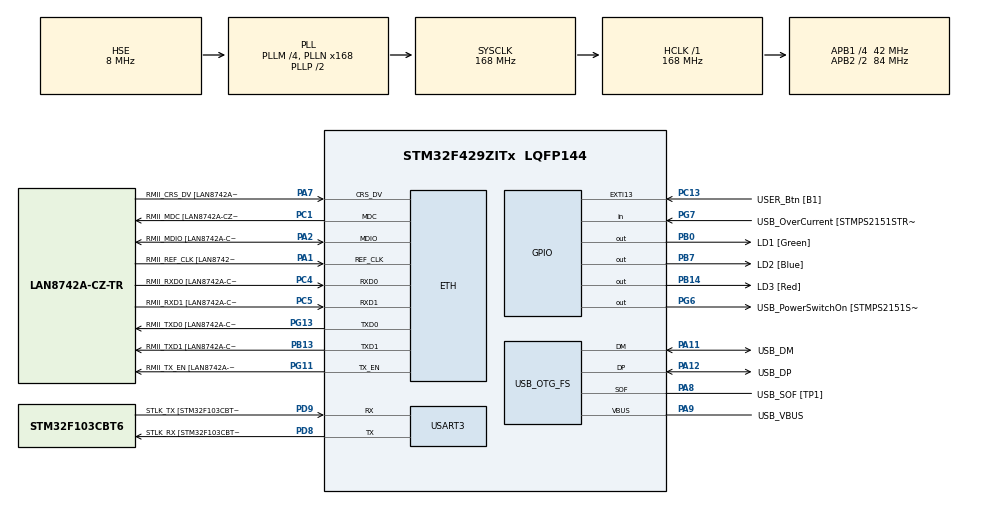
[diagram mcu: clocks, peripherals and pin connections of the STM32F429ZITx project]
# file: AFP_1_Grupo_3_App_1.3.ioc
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ETH.MediaInterface=HAL_ETH_RMII_MODE
ETH.PHY_Name=LAN8742A_PHY_ADDRESS
ETH.PHY_Value=0
ETH.PhyAddress=0
Mcu.Family=STM32F4
Mcu.Name=STM32F429ZITx
Mcu.Package=LQFP144
NVIC.PriorityGroup=NVIC_PRIORITYGROUP_4
PA1.GPIO_Label=RMII_REF_CLK [LAN8742A-CZ-TR_REFCLK0]
PA1.Mode=RMII
PA1.Signal=ETH_REF_CLK
PA10.GPIO_Label=USB_ID
PA10.Signal=USB_OTG_FS_ID
PA11.GPIO_Label=USB_DM
PA11.Mode=Device_Only
PA11.Signal=USB_OTG_FS_DM
PA12.GPIO_Label=USB_DP
PA12.Mode=Device_Only
PA12.Signal=USB_OTG_FS_DP
PA13.GPIO_Label=TMS
PA13.Mode=Serial_Wire
PA13.Signal=SYS_JTMS-SWDIO
PA14.GPIO_Label=TCK
PA14.Mode=Serial_Wire
PA14.Signal=SYS_JTCK-SWCLK
PA2.GPIO_Label=RMII_MDIO [LAN8742A-CZ-TR_MDIO]
PA2.Mode=RMII
PA2.Signal=ETH_MDIO
PA7.GPIO_Label=RMII_CRS_DV [LAN8742A-CZ-TR_CRS_DV]
PA7.Mode=RMII
PA7.Signal=ETH_CRS_DV
PA8.GPIO_Label=USB_SOF [TP1]
PA8.Mode=Activate_SOF_FS
PA8.Signal=USB_OTG_FS_SOF
PA9.GPIO_Label=USB_VBUS
PA9.Mode=Activate_VBUS
PA9.Signal=USB_OTG_FS_VBUS
PB0.GPIO_Label=LD1 [Green]
PB0.Signal=GPIO_Output
PB13.GPIO_Label=RMII_TXD1 [LAN8742A-CZ-TR_TXD1]
PB13.Mode=RMII
PB13.Signal=ETH_TXD1
PB14.GPIO_Label=LD3 [Red]
PB14.Signal=GPIO_Output
PB7.GPIO_Label=LD2 [Blue]
PB7.Signal=GPIO_Output
PC1.GPIO_Label=RMII_MDC [LAN8742A-CZ-TR_MDC]
PC1.Mode=RMII
PC1.Signal=ETH_MDC
PC13.GPIO_Label=USER_Btn [B1]
PC13.Signal=GPXTI13
PC14/OSC32_IN.Mode=LSE-External-Oscillator
PC14/OSC32_IN.Signal=RCC_OSC32_IN
PC15/OSC32_OUT.Mode=LSE-External-Oscillator
PC15/OSC32_OUT.Signal=RCC_OSC32_OUT
PC4.GPIO_Label=RMII_RXD0 [LAN8742A-CZ-TR_RXD0]
PC4.Mode=RMII
PC4.Signal=ETH_RXD0
PC5.GPIO_Label=RMII_RXD1 [LAN8742A-CZ-TR_RXD1]
PC5.Mode=RMII
PC5.Signal=ETH_RXD1
PD8.GPIO_Label=STLK_RX [STM32F103CBT6_PA3]
PD8.Mode=Asynchronous
PD8.Signal=USART3_TX
PD9.GPIO_Label=STLK_TX [STM32F103CBT6_PA2]
PD9.Mode=Asynchronous
PD9.Signal=USART3_RX
PG11.GPIO_Label=RMII_TX_EN [LAN8742A-CZ-TR_TXEN]
PG11.Mode=RMII
PG11.Signal=ETH_TX_EN
PG13.GPIO_Label=RMII_TXD0 [LAN8742A-CZ-TR_TXD0]
PG13.Mode=RMII
PG13.Signal=ETH_TXD0
PG6.GPIO_Label=USB_PowerSwitchOn [STMPS2151STR_EN]
PG6.Signal=GPIO_Output
PG7.GPIO_Label=USB_OverCurrent [STMPS2151STR_FAULT]
PG7.Signal=GPIO_Input
PH0/OSC_IN.GPIO_Label=MCO [STM32F103CBT6_PA8]
PH0/OSC_IN.Mode=HSE-External-Clock-Source
PH0/OSC_IN.Signal=RCC_OSC_IN
PH1/OSC_OUT.Mode=HSE-External-Clock-Source
PH1/OSC_OUT.Signal=RCC_OSC_OUT
ProjectManager.HeapSize=0x200
ProjectManager.StackSize=0x400
ProjectManager.TargetToolchain=STM32CubeIDE
RCC.48MHZClocksFreq_Value=48000000
RCC.AHBFreq_Value=168000000
RCC.APB1CLKDivider=RCC_HCLK_DIV4
RCC.APB1Freq_Value=42000000
RCC.APB1TimFreq_Value=84000000
RCC.APB2CLKDivider=RCC_HCLK_DIV2
RCC.APB2Freq_Value=84000000
RCC.APB2TimCLKDivider=2
RCC.APB2TimFreq_Value=168000000
RCC.CortexFreq_Value=168000000
RCC.HCLKFreq_Value=168000000
RCC.HSE_VALUE=8000000
RCC.HSI_VALUE=16000000
RCC.PLLM=4
RCC.PLLMUL=RCC_PLL_MUL9
RCC.PLLN=168
RCC.PLLQ=7
RCC.PRESCALERUSB=RCC_USBCLKSOURCE_PLL_DIV1_5
RCC.SYSCLKFreq_VALUE=168000000
RCC.SYSCLKSource=RCC_SYSCLKSOURCE_PLLCLK
RCC.SYSCLKSourceVirtual=RCC_SYSCLKSOURCE_PLLCLK
RCC.USBFreq_Value=48000000
RCC.VCOOutputFreq_Value=336000000
USART3.VirtualMode=VM_ASYNC
USB_OTG_FS.VirtualMode=Device_Only
board=NUCLEO-F429ZI

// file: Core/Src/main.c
/* USER CODE BEGIN Header */
/**
  ******************************************************************************
  * @file           : main.c
  * @brief          : Main program body
  ******************************************************************************
  * @attention
  *
  * Copyright (c) 2024 STMicroelectronics.
  * All rights reserved.
  *
  * This software is licensed under terms that can be found in the LICENSE file
  * in the root directory of this software component.
  * If no LICENSE file comes with this software, it is provided AS-IS.
  *
  ******************************************************************************
  */
/* USER CODE END Header */
#include "main.h"
#include "string.h"

ETH_TxPacketConfig TxConfig;
ETH_DMADescTypeDef  DMARxDscrTab[ETH_RX_DESC_CNT]; /* Ethernet Rx DMA Descriptors */
ETH_DMADescTypeDef  DMATxDscrTab[ETH_TX_DESC_CNT]; /* Ethernet Tx DMA Descriptors */

ETH_HandleTypeDef heth;

UART_HandleTypeDef huart3;

PCD_HandleTypeDef hpcd_USB_OTG_FS;

void SystemClock_Config(void);
static void MX_GPIO_Init(void);
static void MX_ETH_Init(void);
static void MX_USART3_UART_Init(void);
static void MX_USB_OTG_FS_PCD_Init(void);

int main(void)
{

  /* MCU Configuration--------------------------------------------------------*/

  /* Reset of all peripherals, Initializes the Flash interface and the Systick. */
  HAL_Init();

  /* Configure the system clock */
  SystemClock_Config();

  /* Initialize all configured peripherals */
  MX_GPIO_Init();
  MX_ETH_Init();
  MX_USART3_UART_Init();
  MX_USB_OTG_FS_PCD_Init();
  /* USER CODE BEGIN 2 */

  uint16_t vector_Pin_LEDs[CANTIDAD_LEDS] = {LD1_Pin, LD2_Pin, LD3_Pin};
  uint8_t secuencia_actual = 1;

  /* USER CODE END 2 */

  /* Infinite loop */
  /* USER CODE BEGIN WHILE */
  while (1)
  {
	  switch(secuencia_actual){
	  	  case 1:
	  		  secuencia_actual = secuencia1(vector_Pin_LEDs, 150);
	  		  break;
	  	  case 2:
	  		  secuencia_actual = secuencia2(vector_Pin_LEDs, 300);
	  		  break;
	  	  case 3:
	  		  secuencia_actual = secuencia3(vector_Pin_LEDs);
	  		  break;
	  	  case 4:
	  		  secuencia_actual = secuencia4(vector_Pin_LEDs);
	  		  break;
	  	  default:
	  		  for(int j=0;j<CANTIDAD_LEDS;j++){
	  			  HAL_GPIO_WritePin(GPIOB, vector_Pin_LEDs[j], GPIO_PIN_RESET);
	  		  }
	  		  break;
	  }

    /* USER CODE END WHILE */

  }
}

void SystemClock_Config(void)
{
  RCC_OscInitTypeDef RCC_OscInitStruct = {0};
  RCC_ClkInitTypeDef RCC_ClkInitStruct = {0};

  /** Configure the main internal regulator output voltage
  */
  __HAL_RCC_PWR_CLK_ENABLE();
  __HAL_PWR_VOLTAGESCALING_CONFIG(PWR_REGULATOR_VOLTAGE_SCALE1);

  /** Initializes the RCC Oscillators according to the specified parameters
  * in the RCC_OscInitTypeDef structure.
  */
  RCC_OscInitStruct.OscillatorType = RCC_OSCILLATORTYPE_HSE;
  RCC_OscInitStruct.HSEState = RCC_HSE_BYPASS;
  RCC_OscInitStruct.PLL.PLLState = RCC_PLL_ON;
  RCC_OscInitStruct.PLL.PLLSource = RCC_PLLSOURCE_HSE;
  RCC_OscInitStruct.PLL.PLLM = 4;
  RCC_OscInitStruct.PLL.PLLN = 168;
  RCC_OscInitStruct.PLL.PLLP = RCC_PLLP_DIV2;
  RCC_OscInitStruct.PLL.PLLQ = 7;
  if (HAL_RCC_OscConfig(&RCC_OscInitStruct) != HAL_OK)
  {
    Error_Handler();
  }

  /** Initializes the CPU, AHB and APB buses clocks
  */
  RCC_ClkInitStruct.ClockType = RCC_CLOCKTYPE_HCLK|RCC_CLOCKTYPE_SYSCLK
                              |RCC_CLOCKTYPE_PCLK1|RCC_CLOCKTYPE_PCLK2;
  RCC_ClkInitStruct.SYSCLKSource = RCC_SYSCLKSOURCE_PLLCLK;
  RCC_ClkInitStruct.AHBCLKDivider = RCC_SYSCLK_DIV1;
  RCC_ClkInitStruct.APB1CLKDivider = RCC_HCLK_DIV4;
  RCC_ClkInitStruct.APB2CLKDivider = RCC_HCLK_DIV2;

  if (HAL_RCC_ClockConfig(&RCC_ClkInitStruct, FLASH_LATENCY_5) != HAL_OK)
  {
    Error_Handler();
  }
}

static void MX_ETH_Init(void)
{

   static uint8_t MACAddr[6];

  heth.Instance = ETH;
  MACAddr[0] = 0x00;
  MACAddr[1] = 0x80;
  MACAddr[2] = 0xE1;
  MACAddr[3] = 0x00;
  MACAddr[4] = 0x00;
  MACAddr[5] = 0x00;
  heth.Init.MACAddr = &MACAddr[0];
  heth.Init.MediaInterface = HAL_ETH_RMII_MODE;
  heth.Init.TxDesc = DMATxDscrTab;
  heth.Init.RxDesc = DMARxDscrTab;
  heth.Init.RxBuffLen = 1524;

  if (HAL_ETH_Init(&heth) != HAL_OK)
  {
    Error_Handler();
  }

  memset(&TxConfig, 0 , sizeof(ETH_TxPacketConfig));
  TxConfig.Attributes = ETH_TX_PACKETS_FEATURES_CSUM | ETH_TX_PACKETS_FEATURES_CRCPAD;
  TxConfig.ChecksumCtrl = ETH_CHECKSUM_IPHDR_PAYLOAD_INSERT_PHDR_CALC;
  TxConfig.CRCPadCtrl = ETH_CRC_PAD_INSERT;

}

static void MX_USART3_UART_Init(void)
{

  huart3.Instance = USART3;
  huart3.Init.BaudRate = 115200;
  huart3.Init.WordLength = UART_WORDLENGTH_8B;
  huart3.Init.StopBits = UART_STOPBITS_1;
  huart3.Init.Parity = UART_PARITY_NONE;
  huart3.Init.Mode = UART_MODE_TX_RX;
  huart3.Init.HwFlowCtl = UART_HWCONTROL_NONE;
  huart3.Init.OverSampling = UART_OVERSAMPLING_16;
  if (HAL_UART_Init(&huart3) != HAL_OK)
  {
    Error_Handler();
  }

}

static void MX_USB_OTG_FS_PCD_Init(void)
{

  hpcd_USB_OTG_FS.Instance = USB_OTG_FS;
  hpcd_USB_OTG_FS.Init.dev_endpoints = 4;
  hpcd_USB_OTG_FS.Init.speed = PCD_SPEED_FULL;
  hpcd_USB_OTG_FS.Init.dma_enable = DISABLE;
  hpcd_USB_OTG_FS.Init.phy_itface = PCD_PHY_EMBEDDED;
  hpcd_USB_OTG_FS.Init.Sof_enable = ENABLE;
  hpcd_USB_OTG_FS.Init.low_power_enable = DISABLE;
  hpcd_USB_OTG_FS.Init.lpm_enable = DISABLE;
  hpcd_USB_OTG_FS.Init.vbus_sensing_enable = ENABLE;
  hpcd_USB_OTG_FS.Init.use_dedicated_ep1 = DISABLE;
  if (HAL_PCD_Init(&hpcd_USB_OTG_FS) != HAL_OK)
  {
    Error_Handler();
  }

}

static void MX_GPIO_Init(void)
{
  GPIO_InitTypeDef GPIO_InitStruct = {0};

  /* GPIO Ports Clock Enable */
  __HAL_RCC_GPIOC_CLK_ENABLE();
  __HAL_RCC_GPIOH_CLK_ENABLE();
  __HAL_RCC_GPIOA_CLK_ENABLE();
  __HAL_RCC_GPIOB_CLK_ENABLE();
  __HAL_RCC_GPIOD_CLK_ENABLE();
  __HAL_RCC_GPIOG_CLK_ENABLE();

  /*Configure GPIO pin Output Level */
  HAL_GPIO_WritePin(GPIOB, LD1_Pin|LD3_Pin|LD2_Pin, GPIO_PIN_RESET);

  /*Configure GPIO pin Output Level */
  HAL_GPIO_WritePin(USB_PowerSwitchOn_GPIO_Port, USB_PowerSwitchOn_Pin, GPIO_PIN_RESET);

  /*Configure GPIO pin : USER_Btn_Pin */
  GPIO_InitStruct.Pin = USER_Btn_Pin;
  GPIO_InitStruct.Mode = GPIO_MODE_IT_RISING;
  GPIO_InitStruct.Pull = GPIO_NOPULL;
  HAL_GPIO_Init(USER_Btn_GPIO_Port, &GPIO_InitStruct);

  /*Configure GPIO pins : LD1_Pin LD3_Pin LD2_Pin */
  GPIO_InitStruct.Pin = LD1_Pin|LD3_Pin|LD2_Pin;
  GPIO_InitStruct.Mode = GPIO_MODE_OUTPUT_PP;
  GPIO_InitStruct.Pull = GPIO_NOPULL;
  GPIO_InitStruct.Speed = GPIO_SPEED_FREQ_LOW;
  HAL_GPIO_Init(GPIOB, &GPIO_InitStruct);

  /*Configure GPIO pin : USB_PowerSwitchOn_Pin */
  GPIO_InitStruct.Pin = USB_PowerSwitchOn_Pin;
  GPIO_InitStruct.Mode = GPIO_MODE_OUTPUT_PP;
  GPIO_InitStruct.Pull = GPIO_NOPULL;
  GPIO_InitStruct.Speed = GPIO_SPEED_FREQ_LOW;
  HAL_GPIO_Init(USB_PowerSwitchOn_GPIO_Port, &GPIO_InitStruct);

  /*Configure GPIO pin : USB_OverCurrent_Pin */
  GPIO_InitStruct.Pin = USB_OverCurrent_Pin;
  GPIO_InitStruct.Mode = GPIO_MODE_INPUT;
  GPIO_InitStruct.Pull = GPIO_NOPULL;
  HAL_GPIO_Init(USB_OverCurrent_GPIO_Port, &GPIO_InitStruct);

}

/* USER CODE BEGIN 4 */

uint8_t secuencia1(uint16_t* vector_Pin_LEDs, uint8_t retardo_ms){
	for(int i=0; i<CANTIDAD_LEDS;i++){
			/*TIEMPO DE ENCENDIDO*/
			for(int tick=0;tick<retardo_ms;tick++){
				if(HAL_GPIO_ReadPin(USER_Btn_GPIO_Port, USER_Btn_Pin) == GPIO_PIN_SET){
					while(HAL_GPIO_ReadPin(USER_Btn_GPIO_Port, USER_Btn_Pin) == GPIO_PIN_SET){}; //Antirebote por SW
					for(int j=0;j<CANTIDAD_LEDS;j++){
						HAL_GPIO_WritePin(GPIOB, vector_Pin_LEDs[j], GPIO_PIN_RESET);
					}
					return 2;
				}
				HAL_GPIO_WritePin(GPIOB, vector_Pin_LEDs[i], GPIO_PIN_SET);
				HAL_Delay(1);
			}
			/*TIEMPO DE APAGADO*/
			for(int tick=0;tick<retardo_ms;tick++){
				if(HAL_GPIO_ReadPin(USER_Btn_GPIO_Port, USER_Btn_Pin) == GPIO_PIN_SET){
					while(HAL_GPIO_ReadPin(USER_Btn_GPIO_Port, USER_Btn_Pin) == GPIO_PIN_SET){};
					for(int j=0;j<CANTIDAD_LEDS;j++){
						HAL_GPIO_WritePin(GPIOB, vector_Pin_LEDs[j], GPIO_PIN_RESET);
					}
					return 2;
				}
				HAL_GPIO_WritePin(GPIOB, vector_Pin_LEDs[i], GPIO_PIN_RESET);
				HAL_Delay(1);
			}
		}
		return 1;
}

uint8_t secuencia2(uint16_t* vector_Pin_LEDs, uint16_t retardo_ms){
	/*TIEMPO DE ENCENDIDO*/
	for(int tick=0;tick<(retardo_ms/2);tick++){
		if(HAL_GPIO_ReadPin(USER_Btn_GPIO_Port, USER_Btn_Pin) == GPIO_PIN_SET){
			while(HAL_GPIO_ReadPin(USER_Btn_GPIO_Port, USER_Btn_Pin) == GPIO_PIN_SET){}; //Antirebote por SW
			for(int j=0;j<CANTIDAD_LEDS;j++){
				HAL_GPIO_WritePin(GPIOB, vector_Pin_LEDs[j], GPIO_PIN_RESET);
			}
			return 3;
		}
		for(int j=0; j<CANTIDAD_LEDS;j++){
			HAL_GPIO_WritePin(GPIOB, vector_Pin_LEDs[j], GPIO_PIN_SET);
		}
    HAL_Delay(1);
	}
	/*TIEMPO DE APAGADO*/
	for(int tick=0;tick<(retardo_ms/2);tick++){
		if(HAL_GPIO_ReadPin(USER_Btn_GPIO_Port, USER_Btn_Pin) == GPIO_PIN_SET){
			while(HAL_GPIO_ReadPin(USER_Btn_GPIO_Port, USER_Btn_Pin) == GPIO_PIN_SET){};
			for(int j=0;j<CANTIDAD_LEDS;j++){
				HAL_GPIO_WritePin(GPIOB, vector_Pin_LEDs[j], GPIO_PIN_RESET);
			}
			return 3;
		}
		for(int j=0; j<CANTIDAD_LEDS;j++){
			HAL_GPIO_WritePin(GPIOB, vector_Pin_LEDs[j], GPIO_PIN_RESET);
		}
    HAL_Delay(1);
	}
	return 2;
}

uint8_t secuencia3(uint16_t* vector_Pin_LEDs){
	/*TIEMPO DE ENCENDIDO*/
	for(int tick=0;tick<1200;tick++){
		if(HAL_GPIO_ReadPin(USER_Btn_GPIO_Port, USER_Btn_Pin) == GPIO_PIN_SET){
			while(HAL_GPIO_ReadPin(USER_Btn_GPIO_Port, USER_Btn_Pin) == GPIO_PIN_SET){}; //Antirebote por SW
			for(int j=0;j<CANTIDAD_LEDS;j++){
				HAL_GPIO_WritePin(GPIOB, vector_Pin_LEDs[j], GPIO_PIN_RESET);
			}
			return 4;
		}
		if((tick%100) == 0){
			HAL_GPIO_TogglePin(GPIOB, vector_Pin_LEDs[0]);
		}
		if((tick%300) == 0){
			HAL_GPIO_TogglePin(GPIOB, vector_Pin_LEDs[1]);
		}
		if((tick%600) == 0){
			HAL_GPIO_TogglePin(GPIOB, vector_Pin_LEDs[2]);
		}
		HAL_Delay(1);
	}
	return 3;
}

uint8_t secuencia4(uint16_t* vector_Pin_LEDs){
	/*CONFIGURACION INICIAL*/
	for(int i=0;i<CANTIDAD_LEDS;i++){
		if((i%2 == 1)){
			HAL_GPIO_WritePin(GPIOB, vector_Pin_LEDs[i], GPIO_PIN_SET);
		}else{
			HAL_GPIO_WritePin(GPIOB, vector_Pin_LEDs[i], GPIO_PIN_RESET);
		}
	}

	/*SECUENCIA*/
	for(int tick=0;tick<300;tick++){
		if(HAL_GPIO_ReadPin(USER_Btn_GPIO_Port, USER_Btn_Pin) == GPIO_PIN_SET){
			while(HAL_GPIO_ReadPin(USER_Btn_GPIO_Port, USER_Btn_Pin) == GPIO_PIN_SET){}; //Antirebote por SW
			for(int j=0;j<CANTIDAD_LEDS;j++){
				HAL_GPIO_WritePin(GPIOB, vector_Pin_LEDs[j], GPIO_PIN_RESET);
			}
			return 1;
		}
		if((tick%150) == 0){
			for(int i=0;i<CANTIDAD_LEDS;i++){
				HAL_GPIO_TogglePin(GPIOB, vector_Pin_LEDs[i]);
			}
		}
		HAL_Delay(1);
	}
	return 4;
}

/* USER CODE END 4 */

void Error_Handler(void)
{
  __disable_irq();
  while (1)
  {
  }
}
